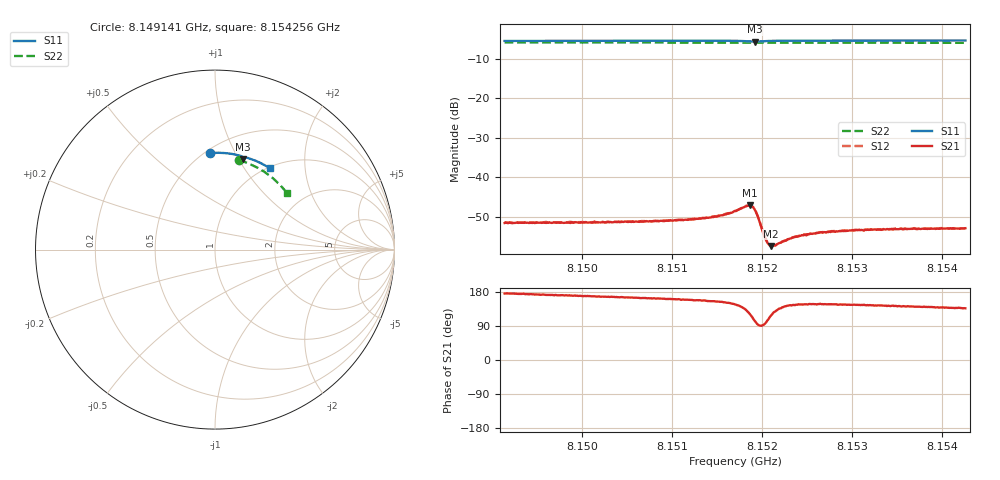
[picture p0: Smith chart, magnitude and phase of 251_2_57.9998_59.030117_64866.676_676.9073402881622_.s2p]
#  HZ  S  RI  R  50.00
! Rohde & Schwarz Vector Network Analyzer
! Rohde-Schwarz,ZNB20-2Port,1311601062101988,3.16
! Created: UTC 3/21/2024, 1:01:28 AM
! freq[Hz]  re:S11  im:S11  re:S21  im:S21  re:S12  im:S12  re:S22  im:S22
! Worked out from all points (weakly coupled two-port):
!   401 points, 8.149141 GHz to 8.154256 GHz, reference 50 ohm
!   highest |S21| = -47.16 dB at 8.151865 GHz (marker M1); lowest = -57.5 dB at 8.152095 GHz (marker M2)
!   lowest |S11| = -5.5 dB at 8.151916 GHz (marker M3), VSWR 3.24, Z = 37.3 + j52.2 ohm
!   |S11| at or under -10 dB: nowhere
!   |S22| runs from -5.9 to -5.7 dB; largest |S21 - S12| = 0.00012
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8.1491408e9  -0.0304 0.5376  -0.00261 0.000208  -0.00265 0.000234  0.1318 0.4986
8.1499976e9  0.0296 0.5391  -0.0026 0.000505  -0.00264 0.000558  0.1847 0.4809
8.1508544e9  0.0894 0.5338  -0.00261 0.000838  -0.00264 0.00091  0.235 0.4573
8.1511869e9  0.1127 0.5298  -0.0027 0.00105  -0.00271 0.00109  0.2534 0.4467
8.1513915e9  0.1273 0.5264  -0.00278 0.00126  -0.0028 0.00129  0.2648 0.4399
8.1515705e9  0.1405 0.5228  -0.00293 0.00153  -0.00295 0.0016  0.2744 0.4338
8.1516984e9  0.1504 0.5186  -0.0031 0.00204  -0.0031 0.00209  0.2813 0.4288
8.1518263e9  0.1588 0.5106  -0.0028 0.00324  -0.0028 0.00333  0.288 0.4242
8.1518646e9  0.1591 0.507  -0.00224 0.00377  -0.0022 0.00378  0.2898 0.4224
8.1518902e9  0.1582 0.5053  -0.00166 0.00391  -0.00156 0.00395  0.2911 0.4215
8.1519158e9  0.1564 0.5046  -0.000924 0.00379  -0.000909 0.00383  0.2923 0.4204
8.1519542e9  0.1548 0.5067  -0.000174 0.00311  -0.00014 0.00313  0.2942 0.4194
8.1520181e9  0.1574 0.5111  -0.000104 0.00187  -5.73e-05 0.00186  0.2972 0.4173
8.1520437e9  0.1597 0.5124  -0.000258 0.00157  -0.000236 0.00162  0.2988 0.4162
8.1520693e9  0.1619 0.5129  -0.000432 0.00136  -0.00042 0.00134  0.3001 0.4153
8.1520948e9  0.1643 0.5134  -0.000595 0.0012  -0.000589 0.00125  0.3015 0.4143
8.1521588e9  0.1699 0.5131  -0.000908 0.00105  -0.000923 0.00105  0.3048 0.4119
8.1523634e9  0.1858 0.5098  -0.00142 0.001  -0.00143 0.00103  0.3152 0.4037
8.1525552e9  0.1994 0.5055  -0.00161 0.00102  -0.0016 0.00105  0.3246 0.3959
8.1530156e9  0.2297 0.4935  -0.00174 0.00117  -0.00175 0.00121  0.3464 0.3762
8.153412e9  0.2548 0.4818  -0.00173 0.00131  -0.00173 0.00135  0.3642 0.3582
8.154256e9  0.3058 0.4526  -0.00163 0.00155  -0.00164 0.00153  0.3988 0.3174
